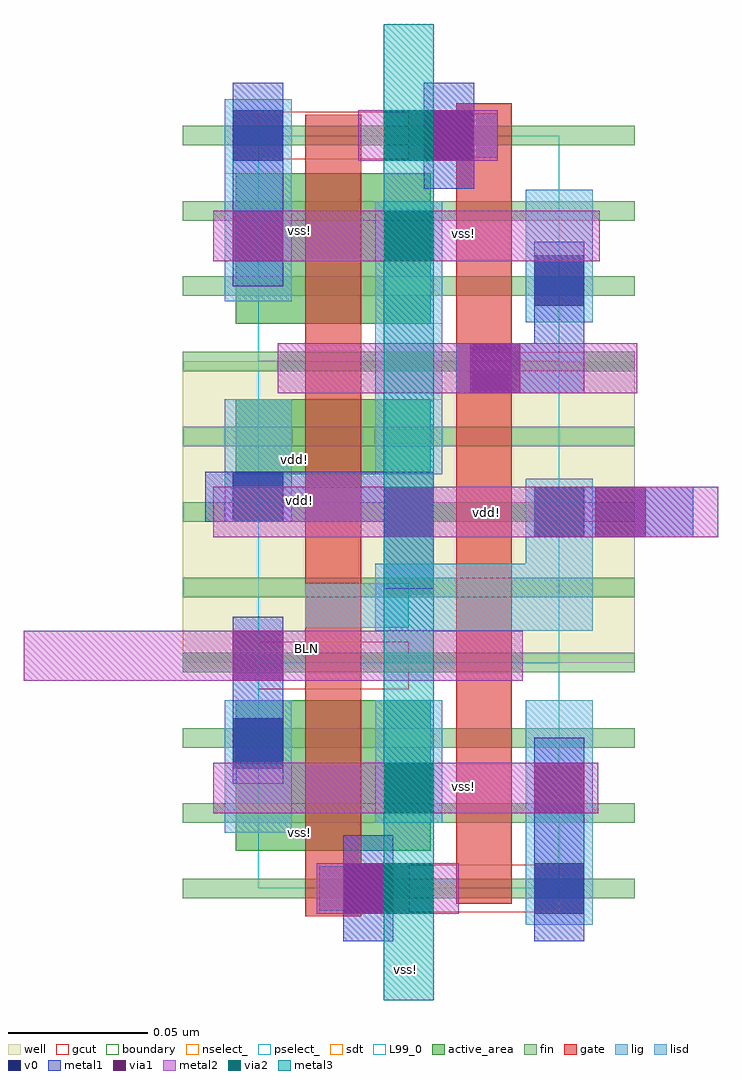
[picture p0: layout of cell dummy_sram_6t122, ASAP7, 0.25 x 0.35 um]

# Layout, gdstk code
import gdstk
lib = gdstk.Library(unit=1e-6, precision=2.5e-10)
def R(c, l, rs):  # rectangles x0, y0, x1, y1
    for r in rs: c.add(gdstk.rectangle(r[:2], r[2:], *l))
def A(c, l, x, y, w, h, nx, ny, dx, dy):  # array of equal rectangles
    R(c, l, [(x+i*dx, y+j*dy, x+i*dx+w, y+j*dy+h) for i in range(nx) for j in range(ny)])
def P(c, l, *ps):  # polygons
    for p in ps: c.add(gdstk.Polygon(p, *l))
well = (1, 0)
fin = (2, 0)
gate = (7, 0)
gcut = (10, 0)
active_area = (11, 0)
nselect_ = (12, 0)
pselect_ = (13, 0)
lig = (16, 0)
lisd = (17, 0)
v0 = (18, 0)
metal1 = (19, 0)
metal2 = (20, 0)
via1 = (21, 0)
via2 = (25, 0)
metal3 = (30, 0)
sdt = (88, 0)
L99_0 = (99, 0)
boundary = (100, 0)

dummy_sram_6t122 = lib.new_cell('dummy_sram_6t122')
R(dummy_sram_6t122, well, [(-0.027,0.081,0.135,0.189)])
A(dummy_sram_6t122, fin, -0.027, -0.0035, 0.162, 0.007, 1, 11, 0, 0.027)
R(dummy_sram_6t122, gate, [(0.017,-0.01,0.037,0.2775), (0.071,-0.0055,0.091,0.2815)])
R(dummy_sram_6t122, gcut, [(0.054,-0.0085,0.108,0.0085), (0,0.0715,0.054,0.0885), (0,0.2615,0.054,0.2785)])
R(dummy_sram_6t122, active_area, [(-0.008,0.0135,0.062,0.0675), (-0.008,0.1485,0.062,0.1755), (-0.008,0.2025,0.062,0.2565)])
R(dummy_sram_6t122, nselect_, [(0,0,0.108,0.081), (0,0.189,0.108,0.27)])
R(dummy_sram_6t122, pselect_, [(0,0.081,0.108,0.189)])
R(dummy_sram_6t122, lig, [(0.022,-0.008,0.054,0.008), (0.017,0.0935,0.054,0.1095), (0.054,0.262,0.086,0.278)])
R(dummy_sram_6t122, lisd, [(0.096,-0.013,0.12,0.0675), (-0.012,0.02,0.012,0.0675), (0.042,0.0235,0.066,0.0675), (0.042,0.0925,0.12,0.1165), (0.096,0.0925,0.12,0.147), (-0.012,0.1315,0.012,0.1755), (0.042,0.1485,0.066,0.2465), (0.096,0.203,0.12,0.2505), (-0.012,0.2105,0.012,0.283)])
R(dummy_sram_6t122, v0, [(0.0305,-0.009,0.0485,0.009), (0.099,-0.009,0.117,0.009), (-0.009,0.043,0.009,0.061), (0.099,0.126,0.117,0.144), (-0.009,0.1315,0.009,0.1495), (0.099,0.209,0.117,0.227), (-0.009,0.261,0.009,0.279), (0.0595,0.261,0.0775,0.279)])
R(dummy_sram_6t122, metal1, [(0.0305,-0.019,0.0485,0.019), (0.099,-0.019,0.117,0.054), (-0.009,0.0375,0.009,0.0975), (0.099,0.126,0.156,0.144), (0.071,0.1775,0.117,0.1955), (0.099,0.185,0.117,0.232), (-0.009,0.216,0.009,0.289), (0.0595,0.251,0.0775,0.289)])
P(dummy_sram_6t122, metal1, [(0.045,0.1075),(0.045,0.1315),(-0.019,0.1315),(-0.019,0.1495),(0.063,0.1495),(0.063,0.1075)])
R(dummy_sram_6t122, metal2, [(0.021,-0.009,0.072,0.009), (-0.016,0.027,0.122,0.045), (-0.084,0.0745,0.095,0.0925), (-0.016,0.126,0.165,0.144), (0.007,0.1775,0.0325,0.1955), (0.014,0.1775,0.136,0.1955), (-0.016,0.225,0.1225,0.243), (0.036,0.261,0.086,0.279)])
R(dummy_sram_6t122, via1, [(0.0305,-0.009,0.0485,0.009), (0.099,0.027,0.117,0.045), (-0.009,0.0745,0.009,0.0925), (0.045,0.126,0.063,0.144), (0.121,0.126,0.139,0.144), (0.076,0.1775,0.094,0.1955), (-0.009,0.225,0.009,0.243), (0.0595,0.261,0.0775,0.279)])
R(dummy_sram_6t122, via2, [(0.045,-0.009,0.063,0.009), (0.045,0.027,0.063,0.045), (0.045,0.225,0.063,0.243), (0.045,0.261,0.063,0.279)])
R(dummy_sram_6t122, metal3, [(0.045,-0.04,0.063,0.31)])
R(dummy_sram_6t122, sdt, [(-0.012,0.02,0.012,0.0675), (0.042,0.0235,0.066,0.0675), (-0.012,0.1485,0.012,0.1755), (0.042,0.1485,0.066,0.1755), (0.042,0.2025,0.066,0.2465), (-0.012,0.2105,0.012,0.2565)])
R(dummy_sram_6t122, L99_0, [(0,0,0.108,0.27)])
R(dummy_sram_6t122, boundary, [(0,0,0.108,0.27)])
dummy_sram_6t122.add(gdstk.Label('vdd!', (0.013,0.154), layer=1, texttype=0))
dummy_sram_6t122.add(gdstk.Label('BLN', (0.0175,0.086), layer=20, texttype=251))
dummy_sram_6t122.add(gdstk.Label('vss!', (0.0735,0.235), layer=20, texttype=251))
dummy_sram_6t122.add(gdstk.Label('vss!', (0.0735,0.0365), layer=20, texttype=251))
dummy_sram_6t122.add(gdstk.Label('vdd!', (0.082,0.135), layer=20, texttype=251))
dummy_sram_6t122.add(gdstk.Label('vss!', (0.015,0.236), layer=3, texttype=251))
dummy_sram_6t122.add(gdstk.Label('vss!', (0.015,0.02), layer=3, texttype=251))
dummy_sram_6t122.add(gdstk.Label('vdd!', (0.015,0.139), layer=1, texttype=251))
dummy_sram_6t122.add(gdstk.Label('vss!', (0.053,-0.029), layer=30, texttype=251))

lib.write_gds('dummy_sram_6t122.gds')
